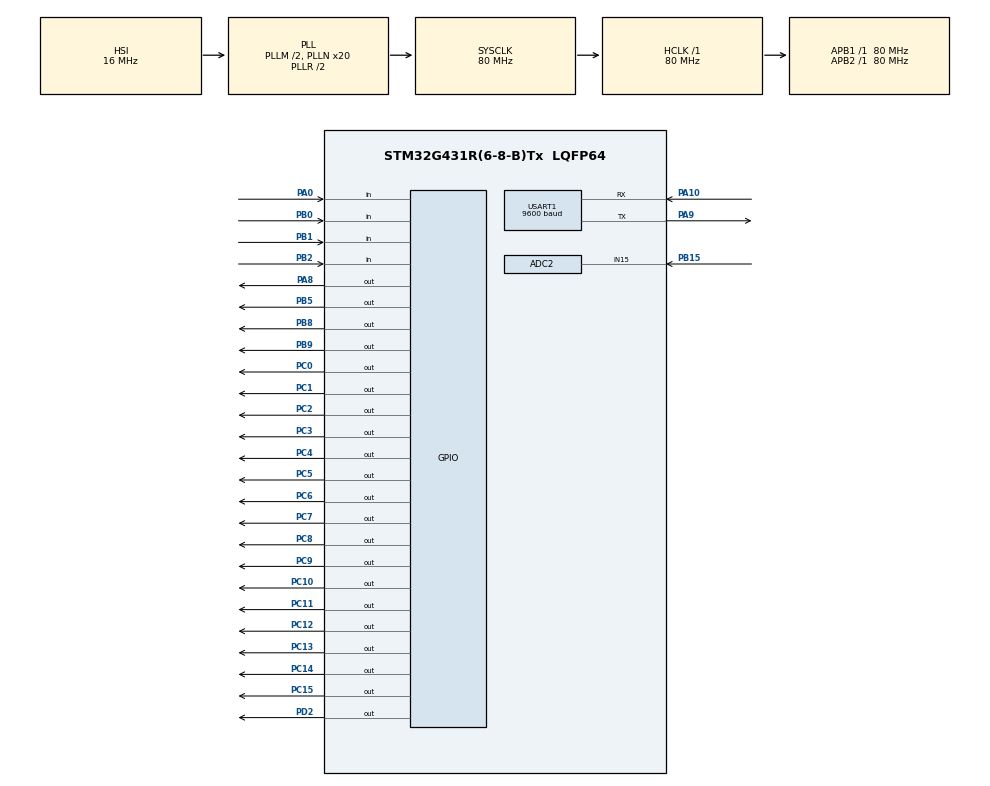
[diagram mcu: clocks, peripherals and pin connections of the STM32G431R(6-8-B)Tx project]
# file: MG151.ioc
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ADC2.Channel-0\#ChannelRegularConversion=ADC_CHANNEL_15
ADC2.NbrOfConversionFlag=1
ADC2.OffsetNumber-0\#ChannelRegularConversion=ADC_OFFSET_NONE
ADC2.Rank-0\#ChannelRegularConversion=1
ADC2.SamplingTime-0\#ChannelRegularConversion=ADC_SAMPLETIME_640CYCLES_5
Mcu.Family=STM32G4
Mcu.Name=STM32G431R(6-8-B)Tx
Mcu.Package=LQFP64
NVIC.PriorityGroup=NVIC_PRIORITYGROUP_4
NVIC.USART1_IRQn=true\:0\:0\:false\:false\:true\:true\:true\:true
PA0.Signal=GPIO_Input
PA10.Mode=Asynchronous
PA10.Signal=USART1_RX
PA8.Signal=GPIO_Output
PA9.Mode=Asynchronous
PA9.Signal=USART1_TX
PB0.Signal=GPIO_Input
PB1.Signal=GPIO_Input
PB15.Mode=IN15-Single-Ended
PB15.Signal=ADC2_IN15
PB2.Signal=GPIO_Input
PB5.Signal=GPIO_Output
PB8-BOOT0.Signal=GPIO_Output
PB9.Signal=GPIO_Output
PC0.Signal=GPIO_Output
PC1.Signal=GPIO_Output
PC10.Signal=GPIO_Output
PC11.Signal=GPIO_Output
PC12.Signal=GPIO_Output
PC13.Signal=GPIO_Output
PC14-OSC32_IN.Signal=GPIO_Output
PC15-OSC32_OUT.Signal=GPIO_Output
PC2.Signal=GPIO_Output
PC3.Signal=GPIO_Output
PC4.Signal=GPIO_Output
PC5.Signal=GPIO_Output
PC6.Signal=GPIO_Output
PC7.Signal=GPIO_Output
PC8.Signal=GPIO_Output
PC9.Signal=GPIO_Output
PD2.Signal=GPIO_Output
PF0-OSC_IN.Mode=HSE-External-Oscillator
PF0-OSC_IN.Signal=RCC_OSC_IN
PF1-OSC_OUT.Mode=HSE-External-Oscillator
PF1-OSC_OUT.Signal=RCC_OSC_OUT
ProjectManager.HeapSize=0x200
ProjectManager.StackSize=0x400
ProjectManager.TargetToolchain=MDK-ARM V5
RCC.ADC12Freq_Value=80000000
RCC.AHBFreq_Value=80000000
RCC.APB1Freq_Value=80000000
RCC.APB1TimFreq_Value=80000000
RCC.APB2Freq_Value=80000000
RCC.APB2TimFreq_Value=80000000
RCC.CortexFreq_Value=80000000
RCC.EXTERNAL_CLOCK_VALUE=12288000
RCC.HCLKFreq_Value=80000000
RCC.HSE_VALUE=24000000
RCC.HSI48_VALUE=48000000
RCC.HSI_VALUE=16000000
RCC.LSE_VALUE=32768
RCC.PLLM=RCC_PLLM_DIV2
RCC.PLLN=20
RCC.SYSCLKFreq_VALUE=80000000
RCC.SYSCLKSource=RCC_SYSCLKSOURCE_PLLCLK
RCC.USBFreq_Value=80000000
RCC.VCOOutputFreq_Value=160000000
USART1.BaudRate=9600
USART1.VirtualMode-Asynchronous=VM_ASYNC
VP_SYS_VS_DBSignals.Mode=DisableDeadBatterySignals
board=custom

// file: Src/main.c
/* USER CODE BEGIN Header */
/**
  ******************************************************************************
  * @file           : main.c
  * @brief          : Main program body
  ******************************************************************************
  * @attention
  *
  * <h2><center>&copy; Copyright (c) 2021 STMicroelectronics.
  * All rights reserved.</center></h2>
  *
  * This software component is licensed by ST under BSD 3-Clause license,
  * the "License"; You may not use this file except in compliance with the
  * License. You may obtain a copy of the License at:
  *                        opensource.org/licenses/BSD-3-Clause
  *
  ******************************************************************************
  */
/* USER CODE END Header */

#include "main.h"
#include "adc.h"
#include "usart.h"
#include "gpio.h"

/* USER CODE BEGIN Includes */
#include "led.h"
#include "key.h"
#include "stdio.h"
#include "string.h"

/* USER CODE END Includes */

void SystemClock_Config(void);

/* USER CODE BEGIN 0 */

#define Display_DATA 0
#define Display_WARN 1

u8 Display_Mode = 0;

//1
#define S 0
#define R 1
#define L 2
u8 N = 0; // 0=s,1=R,2=L;
double D = 80.3;

_Bool L_flag = 0; //改变的5s内
_Bool R_flag = 0;
_Bool uart_flag = 0;
extern u32 L_cnt;
extern u32 R_cnt;

//2

//LED
u8 led_ctrl = 0x00;
uint32_t ledTick = 0;
void Led_Process(void)
{
	if(uwTick - ledTick < 100) return;
	ledTick = uwTick;

	if(Display_Mode == Display_DATA && N == L)
		led_ctrl ^= 0x01;
	else
		led_ctrl &= ~0x01;

	if(Display_Mode == Display_DATA && N == R)
		led_ctrl ^= 0x02;
	else
		led_ctrl &= ~0x02;

	if(Display_Mode == Display_WARN)
		led_ctrl |= 0x80;
	else
		led_ctrl &= ~0x80;

	//led_ctrl ^= 0x80;
	Led_Control(led_ctrl);

}

//KEY
uint32_t keyTick = 0;
void Key_Process(void)
{
	if(uwTick - keyTick < 20) return;
	keyTick = uwTick;

	Key_Read();

	if(Trg & 0x01)
	{

		if(Display_Mode == Display_WARN)
		{
			LCD_Clear(Black);//最好放里面
			Display_Mode = Display_DATA;
			N = S;
			//led_ctrl &= ~0x80;
			printf("Success\r\n");
		}
	}

	if(Trg & 0x02) //这样写按键执行不对，必须加大括号，空的也行
	{}
		//Led_Control(0x02);

	if(Trg & 0x04)
	{
		//Led_Control(0x01);
		if(Display_Mode == Display_DATA)
		{
			if(N == L && L_flag == 1)
			{
				N = S;
				L_flag = 0;
				L_cnt = 0;
				printf("Success\r\n");
			}

			else if(N == S)
			{

				LCD_Clear(Black);
				Display_Mode = Display_WARN;
				printf("Warn\r\n");
			}
		}

	}

	if(Trg & 0x08)
	{
		if(Display_Mode == Display_DATA)
		{
			if(N == R && R_flag == 1)
			{
				N = S;
				R_flag = 0;
				R_cnt = 0;
				printf("Success\r\n");
			}

			else if(N == S)
			{
				LCD_Clear(Black);
				Display_Mode = Display_WARN;
				printf("Warn\r\n");
			}
		}
	}

}

//ADC
u32 adc_val;
double r37_v;
void ADC_Process(void)
{
	HAL_ADC_Start(&hadc2);
	adc_val = HAL_ADC_GetValue(&hadc2);
	r37_v = adc_val/4095.0f * 3.3f;

	if(r37_v >= 3.0)
		D = 300;
	else
		D = r37_v * 100;

}

//串口
//发

int fputc(int ch, FILE *f)
{
  /* Your implementation of fputc(). */
	HAL_UART_Transmit(&huart1,(u8 *)&ch,1,50);
  return ch;
}

//收
u8 uart_buf[2];
u8 rx_buf[100];
u8 rx_cnt = 0;

uint32_t uartTick = 0;
void Rx_Idle(void)
{
	if(uwTick - uartTick < 50) return;
	uartTick = uwTick;

	if(rx_cnt > 0)
	{
		if(rx_cnt > 1)
			printf("Len ERROR\r\n");
		rx_cnt = 0;
		memset(rx_buf,'\0',sizeof(rx_buf));
	}
}

void HAL_UART_RxCpltCallback(UART_HandleTypeDef *huart)
{
	uartTick = uwTick;
	HAL_UART_Receive_IT(&huart1,uart_buf,1);

	rx_buf[rx_cnt++] = uart_buf[0];

	if(rx_cnt == 1)
	{
		//rx_cnt = 0; //考虑到接收非法长度字符也报错

		if(Display_Mode == Display_DATA)
		{
			if(rx_buf[0] == 'R')
			{
				if(uart_flag == 0)
				{
					N = R;
					R_flag = 1;
					uart_flag = 1;
				}

			}

			else if(rx_buf[0] == 'L')
			{
				if(uart_flag == 0)
				{
					N = L;
					L_flag = 1;
					uart_flag = 1;
				}

			}
			else
				printf("ERROR\r\n");
		}
		if(Display_Mode == Display_WARN)
		{
			printf("WAIT\r\n");//根据题目要求，接受到任意字符，而不是字符串
		}
		memset(rx_buf,'\0',sizeof(rx_buf));
	}

}

//LCD
uint32_t lcdTick = 0;
void LCD_Process(void)
{
	if(uwTick - lcdTick < 100) return;
	lcdTick = uwTick;

	u8 display_buf[30];

	if(Display_Mode == Display_DATA)
	{
		sprintf((char*)display_buf,"        DATA ");
		LCD_DisplayStringLine(Line1,display_buf);

		if(N == S)
		sprintf((char*)display_buf,"       N:S");

		if(N == R)
		sprintf((char*)display_buf,"       N:R");

		if(N == L)
		sprintf((char*)display_buf,"       N:L");

		LCD_DisplayStringLine(Line3,display_buf);

		sprintf((char*)display_buf,"       D:%.1f      ",D);
		LCD_DisplayStringLine(Line4,display_buf);
	}

	if(Display_Mode == Display_WARN)
	{
		sprintf((char*)display_buf,"        WARN");
		LCD_DisplayStringLine(Line4,display_buf);
	}

}

//定时1ms
u32 L_cnt = 0;
u32 R_cnt = 0;

u32 uart_cnt = 0;

void SysTick_Handler(void)
{
  /* USER CODE BEGIN SysTick_IRQn 0 */

  /* USER CODE END SysTick_IRQn 0 */
  HAL_IncTick();
  /* USER CODE BEGIN SysTick_IRQn 1 */

	if(L_flag == 1)
	{
		L_cnt++;
		if(L_cnt > 5000)
		{
			L_cnt = 0;
			L_flag = 0;
			LCD_Clear(Black);
			Display_Mode = Display_WARN;
		}
	}

	if(R_flag == 1)
	{
		R_cnt++;
		if(R_cnt > 5000)
		{
			R_cnt = 0;
			R_flag = 0;
			LCD_Clear(Black);
			Display_Mode = Display_WARN;
		}
	}

	//串口计时
	if(uart_flag == 1)
	{
		uart_cnt++;
		if(uart_cnt > 5000)
		{
				uart_cnt = 0;
				uart_flag = 0;
		}
	}

  /* USER CODE END SysTick_IRQn 1 */
}

/* USER CODE END 0 */

int main(void)
{

  /* MCU Configuration--------------------------------------------------------*/

  /* Reset of all peripherals, Initializes the Flash interface and the Systick. */
  HAL_Init();

  /* Configure the system clock */
  SystemClock_Config();

  /* Initialize all configured peripherals */
  MX_GPIO_Init();
  MX_ADC2_Init();
  MX_USART1_UART_Init();
  /* USER CODE BEGIN 2 */

    LCD_Init();

		//UART
		HAL_UART_Receive_IT(&huart1,uart_buf,1);
  /* USER CODE END 2 */

  /* Infinite loop */
  /* USER CODE BEGIN WHILE */

    LCD_Clear(Black);
    LCD_SetBackColor(Black);
    LCD_SetTextColor(White);

//    LCD_DrawLine(120, 0, 320, Horizontal);
//    LCD_DrawLine(0, 160, 240, Vertical);
//    HAL_Delay(1000);
//    LCD_Clear(Blue);

//    LCD_DrawRect(70, 210, 100, 100);
//    HAL_Delay(1000);
//    LCD_Clear(Blue);

//    LCD_DrawCircle(120, 160, 50);
//    HAL_Delay(1000);

//    LCD_Clear(Blue);
//    LCD_DisplayStringLine(Line4, (unsigned char *)"    Hello,world.   ");
//    HAL_Delay(1000);

//    LCD_SetBackColor(White);
//    LCD_DisplayStringLine(Line0, (unsigned char *)"                    ");
//    LCD_SetBackColor(Black);
//    LCD_DisplayStringLine(Line1, (unsigned char *)"                    ");
//    LCD_SetBackColor(Grey);
//    LCD_DisplayStringLine(Line2, (unsigned char *)"                    ");
//    LCD_SetBackColor(Blue);
//    LCD_DisplayStringLine(Line3, (unsigned char *)"                    ");
//    LCD_SetBackColor(Blue2);
//    LCD_DisplayStringLine(Line4, (unsigned char *)"                    ");
//    LCD_SetBackColor(Red);
//    LCD_DisplayStringLine(Line5, (unsigned char *)"                    ");
//    LCD_SetBackColor(Magenta);
//    LCD_DisplayStringLine(Line6, (unsigned char *)"                    ");
//    LCD_SetBackColor(Green);
//    LCD_DisplayStringLine(Line7, (unsigned char *)"                    ");
//    LCD_SetBackColor(Cyan);
//    LCD_DisplayStringLine(Line8, (unsigned char *)"                    ");
//    LCD_SetBackColor(Yellow);
//    LCD_DisplayStringLine(Line9, (unsigned char *)"                    ");

		Led_Control(0x00);
		//printf("hello\r\n");
    while (1)
    {
    /* USER CODE END WHILE */

    /* USER CODE BEGIN 3 */
			Key_Process();
			LCD_Process();
			ADC_Process();
			Rx_Idle();
			Led_Process();
    }
  /* USER CODE END 3 */
}

void SystemClock_Config(void)
{
  RCC_OscInitTypeDef RCC_OscInitStruct = {0};
  RCC_ClkInitTypeDef RCC_ClkInitStruct = {0};
  RCC_PeriphCLKInitTypeDef PeriphClkInit = {0};

  /** Configure the main internal regulator output voltage
  */
  HAL_PWREx_ControlVoltageScaling(PWR_REGULATOR_VOLTAGE_SCALE1);
  /** Initializes the CPU, AHB and APB busses clocks
  */
  RCC_OscInitStruct.OscillatorType = RCC_OSCILLATORTYPE_HSI;
  RCC_OscInitStruct.HSIState = RCC_HSI_ON;
  RCC_OscInitStruct.HSICalibrationValue = RCC_HSICALIBRATION_DEFAULT;
  RCC_OscInitStruct.PLL.PLLState = RCC_PLL_ON;
  RCC_OscInitStruct.PLL.PLLSource = RCC_PLLSOURCE_HSI;
  RCC_OscInitStruct.PLL.PLLM = RCC_PLLM_DIV2;
  RCC_OscInitStruct.PLL.PLLN = 20;
  RCC_OscInitStruct.PLL.PLLP = RCC_PLLP_DIV2;
  RCC_OscInitStruct.PLL.PLLQ = RCC_PLLQ_DIV2;
  RCC_OscInitStruct.PLL.PLLR = RCC_PLLR_DIV2;
  if (HAL_RCC_OscConfig(&RCC_OscInitStruct) != HAL_OK)
  {
    Error_Handler();
  }
  /** Initializes the CPU, AHB and APB busses clocks
  */
  RCC_ClkInitStruct.ClockType = RCC_CLOCKTYPE_HCLK|RCC_CLOCKTYPE_SYSCLK
                              |RCC_CLOCKTYPE_PCLK1|RCC_CLOCKTYPE_PCLK2;
  RCC_ClkInitStruct.SYSCLKSource = RCC_SYSCLKSOURCE_PLLCLK;
  RCC_ClkInitStruct.AHBCLKDivider = RCC_SYSCLK_DIV1;
  RCC_ClkInitStruct.APB1CLKDivider = RCC_HCLK_DIV1;
  RCC_ClkInitStruct.APB2CLKDivider = RCC_HCLK_DIV1;

  if (HAL_RCC_ClockConfig(&RCC_ClkInitStruct, FLASH_LATENCY_3) != HAL_OK)
  {
    Error_Handler();
  }
  /** Initializes the peripherals clocks
  */
  PeriphClkInit.PeriphClockSelection = RCC_PERIPHCLK_USART1|RCC_PERIPHCLK_ADC12;
  PeriphClkInit.Usart1ClockSelection = RCC_USART1CLKSOURCE_PCLK2;
  PeriphClkInit.Adc12ClockSelection = RCC_ADC12CLKSOURCE_SYSCLK;
  if (HAL_RCCEx_PeriphCLKConfig(&PeriphClkInit) != HAL_OK)
  {
    Error_Handler();
  }
}

void Error_Handler(void)
{
}

/************************ (C) COPYRIGHT STMicroelectronics *****END OF FILE****/
